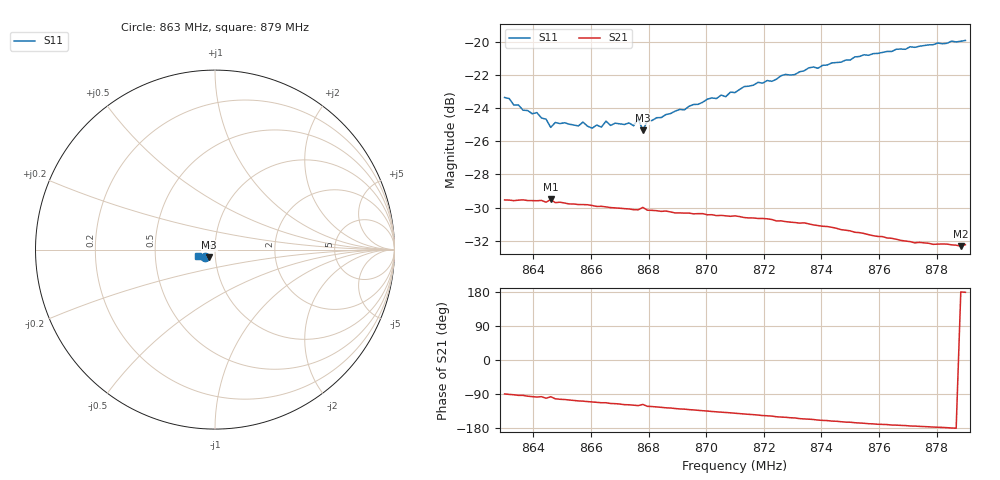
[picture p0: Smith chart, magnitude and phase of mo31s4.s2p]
# HZ S RI R 50
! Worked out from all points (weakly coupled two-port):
!   101 points, 863 MHz to 879 MHz, reference 50 ohm
!   highest |S21| = -29.51 dB at 864.6 MHz (marker M1); lowest = -32.3 dB at 878.84 MHz (marker M2)
!   lowest |S11| = -25.3 dB at 867.8 MHz (marker M3), VSWR 1.11, Z = 46.7 - j4.04 ohm
!   |S11| at or under -10 dB: start of sweep to end of sweep
!   S12 and S22 are empty: the file has one direction only
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8.63e8  -0.0558 -0.0388  0.000253 -0.0334  0 0  0 0
8.6364e8  -0.0498 -0.0373  -0.00193 -0.0333  0 0  0 0
8.6412e8  -0.0492 -0.0364  -0.00444 -0.0329  0 0  0 0
8.6444e8  -0.0464 -0.0355  -0.00624 -0.0322  0 0  0 0
8.646e8  -0.0407 -0.0373  -0.00402 -0.0332  0 0  0 0
8.6476e8  -0.0433 -0.0372  -0.00704 -0.032  0 0  0 0
8.6556e8  -0.0412 -0.0376  -0.00997 -0.0307  0 0  0 0
8.6572e8  -0.0407 -0.0403  -0.0103 -0.0306  0 0  0 0
8.6604e8  -0.0384 -0.0393  -0.0113 -0.03  0 0  0 0
8.6636e8  -0.0382 -0.0399  -0.0124 -0.0294  0 0  0 0
8.6652e8  -0.0392 -0.0422  -0.0123 -0.0293  0 0  0 0
8.6668e8  -0.0378 -0.0413  -0.0133 -0.0287  0 0  0 0
8.6748e8  -0.0344 -0.0439  -0.0152 -0.0272  0 0  0 0
8.6764e8  -0.036 -0.0462  -0.0157 -0.0269  0 0  0 0
8.678e8  -0.0325 -0.0432  -0.0145 -0.0282  0 0  0 0
8.6796e8  -0.0349 -0.046  -0.0166 -0.0263  0 0  0 0
8.6844e8  -0.0348 -0.0478  -0.0177 -0.0252  0 0  0 0
8.71e8  -0.0405 -0.0574  -0.023 -0.019  0 0  0 0
8.7372e8  -0.0568 -0.0618  -0.0258 -0.011  0 0  0 0
8.7644e8  -0.0777 -0.052  -0.0253 -0.00372  0 0  0 0
8.7884e8  -0.0936 -0.0364  -0.0242 0.000187  0 0  0 0
8.79e8  -0.0943 -0.036  -0.0244 0.000573  0 0  0 0
